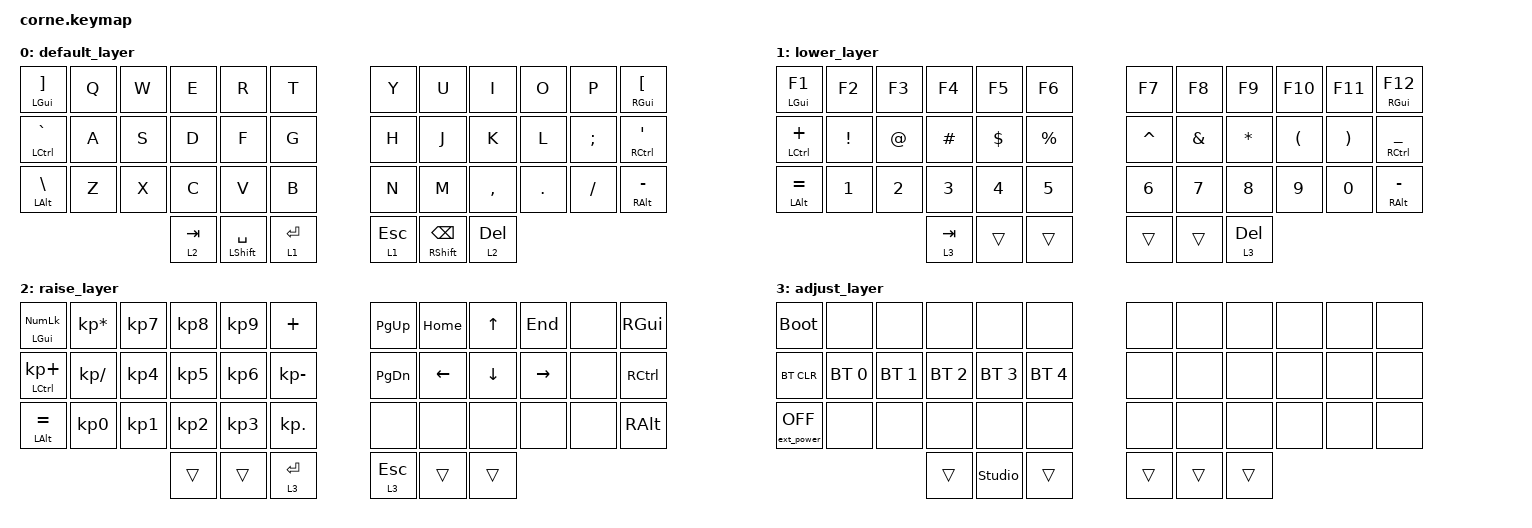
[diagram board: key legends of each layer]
/*
 * Copyright (c) 2020 The ZMK Contributors
 *
 * SPDX-License-Identifier: MIT
 */

#include <behaviors.dtsi>
#include <dt-bindings/zmk/bt.h>
#include <dt-bindings/zmk/ext_power.h>
#include <dt-bindings/zmk/keys.h>

&lt { quick-tap-ms = <250>; };

&mt { quick-tap-ms = <250>; };

/ {
    keymap {
        compatible = "zmk,keymap";

        default_layer {
            bindings = <
&mt LGUI RBKT    &kp Q  &kp W  &kp E      &kp R             &kp T        &kp Y      &kp U           &kp I      &kp O    &kp P     &mt RGUI LBKT
&mt LCTRL GRAVE  &kp A  &kp S  &kp D      &kp F             &kp G        &kp H      &kp J           &kp K      &kp L    &kp SEMI  &mt RCTRL SQT
&mt LALT BSLH    &kp Z  &kp X  &kp C      &kp V             &kp B        &kp N      &kp M           &kp COMMA  &kp DOT  &kp FSLH  &mt RALT MINUS
                               &lt 2 TAB  &mt LSHIFT SPACE  &lt 1 RET    &lt 1 ESC  &mt RSHFT BSPC  &lt 2 DEL
            >;
        };

        lower_layer {
            bindings = <
&mt LGUI F1     &kp F2    &kp F3  &kp F4     &kp F5      &kp F6         &kp F7     &kp F8    &kp F9     &kp F10   &kp F11   &mt RGUI F12
&mt LCTRL PLUS  &kp EXCL  &kp AT  &kp HASH   &kp DOLLAR  &kp PERCENT    &kp CARET  &kp AMPS  &kp STAR   &kp LPAR  &kp RPAR  &mt RCTRL UNDER
&mt LALT EQUAL  &kp N1    &kp N2  &kp N3     &kp N4      &kp N5         &kp N6     &kp N7    &kp N8     &kp N9    &kp N0    &mt RALT MINUS
                                  &lt 3 TAB  &trans      &trans         &trans     &trans    &lt 3 DEL
            >;
        };

        raise_layer {
            bindings = <
&mt LGUI KP_NUMLOCK  &kp KP_MULTIPLY  &kp KP_N7  &kp KP_N8  &kp KP_N9  &kp PLUS        &kp PG_UP      &kp HOME  &kp UP_ARROW  &kp END    &none  &kp RGUI
&mt LCTRL KP_PLUS    &kp KP_SLASH     &kp KP_N4  &kp KP_N5  &kp KP_N6  &kp KP_MINUS    &kp PAGE_DOWN  &kp LEFT  &kp DOWN      &kp RIGHT  &none  &kp RCTRL
&mt LALT EQUAL       &kp KP_N0        &kp KP_N1  &kp KP_N2  &kp KP_N3  &kp KP_DOT      &none          &none     &none         &none      &none  &kp RALT
                                                 &trans     &trans     &lt 3 RET       &lt 3 ESC      &trans    &trans
            >;
        };

        adjust_layer {
            bindings = <
&bootloader        &none         &none         &none         &none           &none           &none   &none   &none   &none  &none  &none
&bt BT_CLR         &bt BT_SEL 0  &bt BT_SEL 1  &bt BT_SEL 2  &bt BT_SEL 3    &bt BT_SEL 4    &none   &none   &none   &none  &none  &none
&ext_power EP_OFF  &none         &none         &none         &none           &none           &none   &none   &none   &none  &none  &none
                                               &trans        &studio_unlock  &trans          &trans  &trans  &trans
            >;
        };
    };

    conditional_layers { compatible = "zmk,conditional-layers"; };
};
